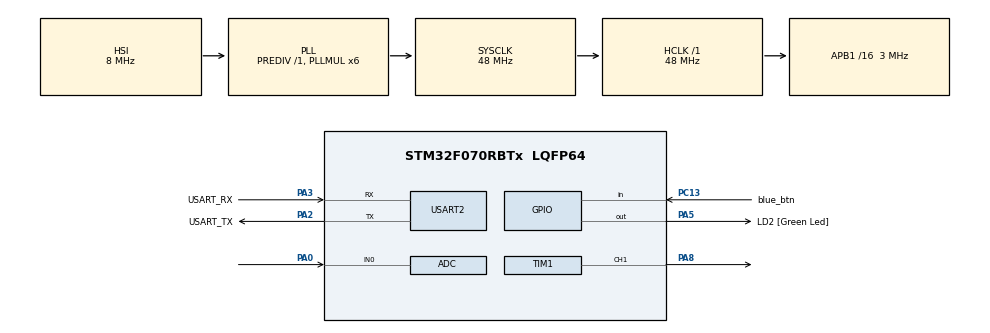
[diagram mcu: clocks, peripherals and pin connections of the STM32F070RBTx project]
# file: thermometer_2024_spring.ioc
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Mcu.Family=STM32F0
Mcu.Name=STM32F070RBTx
Mcu.Package=LQFP64
NVIC.TIM16_IRQn=true\:0\:0\:false\:false\:true\:true\:true\:true
PA0.Mode=IN0
PA0.Signal=ADC_IN0
PA13.GPIO_Label=TMS
PA13.Mode=Serial_Wire
PA13.Signal=SYS_SWDIO
PA14.GPIO_Label=TCK
PA14.Mode=Serial_Wire
PA14.Signal=SYS_SWCLK
PA2.GPIO_Label=USART_TX
PA2.Mode=Asynchronous
PA2.Signal=USART2_TX
PA3.GPIO_Label=USART_RX
PA3.Mode=Asynchronous
PA3.Signal=USART2_RX
PA5.GPIO_Label=LD2 [Green Led]
PA5.Signal=GPIO_Output
PA8.Signal=S_TIM1_CH1
PC13.GPIO_Label=blue_btn
PC13.Signal=GPIO_Input
PC14-OSC32_IN.GPIO_Label=RCC_OSC32_IN
PC14-OSC32_IN.Mode=LSE-External-Oscillator
PC14-OSC32_IN.Signal=RCC_OSC32_IN
PC15-OSC32_OUT.GPIO_Label=RCC_OSC32_OUT
PC15-OSC32_OUT.Mode=LSE-External-Oscillator
PC15-OSC32_OUT.Signal=RCC_OSC32_OUT
PF0-OSC_IN.GPIO_Label=RCC_OSC_IN
PF0-OSC_IN.Mode=HSE-External-Oscillator
PF0-OSC_IN.Signal=RCC_OSC_IN
PF1-OSC_OUT.GPIO_Label=RCC_OSC_OUT
PF1-OSC_OUT.Mode=HSE-External-Oscillator
PF1-OSC_OUT.Signal=RCC_OSC_OUT
ProjectManager.HeapSize=0x200
ProjectManager.StackSize=0x400
ProjectManager.TargetToolchain=STM32CubeIDE
RCC.AHBFreq_Value=48000000
RCC.APB1CLKDivider=RCC_HCLK_DIV16
RCC.APB1Freq_Value=3000000
RCC.APB1TimFreq_Value=6000000
RCC.HCLKFreq_Value=48000000
RCC.PLLMUL=RCC_PLL_MUL6
RCC.SYSCLKFreq_VALUE=48000000
RCC.SYSCLKSource=RCC_SYSCLKSOURCE_PLLCLK
SH.S_TIM1_CH1.0=TIM1_CH1,PWM Generation1 CH1
TIM1.AutoReloadPreload=TIM_AUTORELOAD_PRELOAD_ENABLE
TIM1.Channel-PWM\ Generation1\ CH1=TIM_CHANNEL_1
TIM1.Prescaler=0
TIM16.Period=10000-1
TIM16.Prescaler=51-1
TIM16.RepetitionCounter=0
USART2.VirtualMode-Asynchronous=VM_ASYNC
VP_TIM16_VS_ClockSourceINT.Mode=Enable_Timer
VP_TIM1_VS_ClockSourceINT.Mode=Internal
board=NUCLEO-F070RB

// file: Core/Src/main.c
/* USER CODE BEGIN Header */
/**
 ******************************************************************************
 * @file           : main.c
 * @brief          : Main program body
 ******************************************************************************
 * @attention
 *
 * Copyright (c) 2024 STMicroelectronics.
 * All rights reserved.
 *
 * This software is licensed under terms that can be found in the LICENSE file
 * in the root directory of this software component.
 * If no LICENSE file comes with this software, it is provided AS-IS.
 *
 ******************************************************************************
 */
/* USER CODE END Header */
#include "main.h"

/* USER CODE BEGIN Includes */
#include <string.h>
#include <stdio.h>
#include <math.h>
#include "pid.h"
/* USER CODE END Includes */

/* USER CODE BEGIN PTD */
typedef struct {
  PID_TypeDef TPID;
  double input;
  double output;
  double sp; // set point
} PID_control;
/* USER CODE END PTD */

/* USER CODE BEGIN PD */
// raw temp value (from 0 to 4096) is converted to temperature (Fahrenheit) using the equation:
// Ax + B
// where x is the raw temp value and A and B are constants defined below
#define RAW_TO_TEMP_A 0.175
#define RAW_TO_TEMP_B -22.2

#define SP_HIGH 97.0
#define SP_LOW 93.0
#define SP_INIT 95.0

#define _UART_BUF_SIZE 256
#define HIST_SIZE 4

//#define MANUAL_MODE

// settings for debug graph
#define GRAPH_N_CHARS 64
#define GRAPH_TEMP_MIN 90
#define GRAPH_TEMP_RANGE 10.0
/* USER CODE END PD */

/* USER CODE BEGIN PM */
#define UART_PRINTF(...) \
    do { \
        snprintf(_uart_buf, sizeof(_uart_buf), __VA_ARGS__); \
        HAL_UART_Transmit(&huart2, (uint8_t*)_uart_buf, strnlen((const char*)_uart_buf, sizeof(_uart_buf)), 100); \
    } while (0)

#define UART_PRINT_FLOAT(val) \
  do { \
    if ((val) < 0) { \
      UART_PRINTF("-"); \
      UART_PRINTF("%lu.%02lu", (uint32_t)(-(val)), (uint32_t)(((-(val)) - (uint32_t)(-(val)))*100.0)); \
    } else { \
      UART_PRINTF("%lu.%02lu", (uint32_t)(val), (uint32_t)(((val) - (uint32_t)(val))*100.0)); \
    } \
  } while (0)

/**
 * Convert raw ADC readings to temperature (Fahrenheit)
 */
#define RAW_TO_TEMP(raw) (((RAW_TO_TEMP_A)*(float)(raw) + (RAW_TO_TEMP_B)))
#define TEMP_TO_RAW(temp) ((uint16_t)(((temp) - (RAW_TO_TEMP_B))/(RAW_TO_TEMP_A)))

#define CLAMP(v, min, max) ((v) < (min) ? (min) : (v) > (max) ? (max) : (v))
/* USER CODE END PM */

ADC_HandleTypeDef hadc;

TIM_HandleTypeDef htim1;
TIM_HandleTypeDef htim16;

UART_HandleTypeDef huart2;

/* USER CODE BEGIN PV */
char _uart_buf[_UART_BUF_SIZE];

// value the heater was set to
float heater_set_val;

PID_control pidctl;
int pidctl_en = 0;

// button alternates between heater states (on/off, which SP)
int button_state = 0;

float temp_history[HIST_SIZE];
float output_history[HIST_SIZE];
int current_history = 0;

int button_on = 0;
uint8_t button_debounce = 0;
/* USER CODE END PV */

void SystemClock_Config(void);
static void MX_GPIO_Init(void);
static void MX_USART2_UART_Init(void);
static void MX_ADC_Init(void);
static void MX_TIM1_Init(void);
static void MX_TIM16_Init(void);

/* USER CODE BEGIN 0 */

uint16_t read_temp_raw() {
  HAL_ADC_Start(&hadc);
  HAL_ADC_PollForConversion(&hadc, HAL_MAX_DELAY);
  return HAL_ADC_GetValue(&hadc);
}

/**
 * Set heater with 0.0 being off and 1.0 being on (full)
 */
void set_heater(float value) {
  /*
   * Note:
   * raw value = 0: heater off 0%
   * raw value = 65535 (max): heater on 100%
   *
   * New version of hardware model is active high
   */
  heater_set_val = value;
  TIM1->CCR1 = fabs(value) * 0xffff;
}

/**
 * Sum multiple samples of ADC data spaced evenly by a delay
 */
float read_samples(int size, uint32_t tick_delay) {
  uint32_t total = 0;
  for (int i = 0; i < size; i++) {
    total += read_temp_raw();
    HAL_Delay(tick_delay);
  }
  return total * 1.0 / size;
}

/**
 * For calibrating raw temperature readings to real temperature.
 */
void calibrate_temperature() {
  // disable heater
  set_heater(0);
  UART_PRINTF("%d\n", sizeof(int));

  while (1) {
    float reading = read_samples(256, 10);

    UART_PRINTF("Raw reading averaged over 256 samples every 10 ms: ");
    UART_PRINT_FLOAT(reading);
    UART_PRINTF(", converted temp (F): ");
    UART_PRINT_FLOAT(RAW_TO_TEMP(reading));
    UART_PRINTF("\n\r");

    HAL_Delay(500);
  }
}

/**
 * For calibrating how much the ADC readings are affected by different heater settings.
 *
 * Nice way to analyze these values on command line (for average and stddev):
 * cut -d' ' -f 6,9 | sort | awk -F' ' '{vals[$1]+=$2;vsq[$1]+=($2)^2;c[$1]+=1;} END{for (v in vals) print v, vals[v]/c[v], sqrt((vsq[v]-vals[v]^2/c[v])/c[v]);}'
 */
void calibrate_voltage_drop() {
  float heatval = 0;
  float heater_init = 0.9;

  // disable heater
  set_heater(heater_init);

  while (1) {
    // calculate baseline
    set_heater(heater_init);
    float baseline = read_samples(256, 10);

    // measure spike with heater
    set_heater(heatval);
    float with_heater = read_samples(16, 2);
    set_heater(heater_init);

    UART_PRINTF("baseline: ");
    UART_PRINT_FLOAT(baseline);
    UART_PRINTF(", with heater initially at ");
    UART_PRINT_FLOAT(heater_init);
    UART_PRINTF(" with change to ");
    UART_PRINT_FLOAT(heatval);
    UART_PRINTF(": ");
    UART_PRINT_FLOAT(with_heater);
    UART_PRINTF(", delta: ");
    UART_PRINT_FLOAT(baseline - with_heater);
    UART_PRINTF("\n\r");

    HAL_Delay(500);
  }
}

void PID_init() {
  memset(&pidctl, 0, sizeof(pidctl));
  PID(&pidctl.TPID, &pidctl.input, &pidctl.output, &pidctl.sp, 2.0, 1000.0, 0, _PID_P_ON_M, _PID_CD_DIRECT);
  PID_SetMode(&pidctl.TPID, _PID_MODE_AUTOMATIC);
  PID_SetSampleTime(&pidctl.TPID, 80);
  PID_SetOutputLimits(&pidctl.TPID, 0, 1);
}

void PID_update() {
  pidctl.input = RAW_TO_TEMP(read_temp_raw());
  PID_Compute(&pidctl.TPID);
#ifdef MANUAL_MODE
  set_heater(pidctl.sp < SP_INIT);
#else
  if (!pidctl_en) {
    pidctl.output = 0;
  }
  set_heater(pidctl.output);
#endif

  // update history for debugging
  temp_history[current_history] = pidctl.input;
  output_history[current_history] = pidctl.output;
  current_history = (current_history + 1) % HIST_SIZE;
}

void PID_new_sp(double new_sp) {
  pidctl.sp = new_sp;
}

void button_released() {
  button_state = (button_state + 1) % 4;

  // 0 state: off
  // 1 state: mid sp
  // 2 state: low sp
  // 3 state: high sp

  pidctl_en = button_state != 0;

  if (button_state == 1) {
    PID_new_sp(SP_INIT);
  } else if (button_state == 2) {
    PID_new_sp(SP_LOW);
  } else if (button_state == 3) {
    PID_new_sp(SP_HIGH);
  }
}

/**
 * Creates new row of temperature (and control) graph
 */
void graph_temp() {
  int tick = HAL_GetTick();
  int seconds = tick/1000;
  int ms = tick % 1000;

  float avg_i = 0, avg_o = 0;
  for (int i = 0; i < HIST_SIZE; i++) {
    avg_i += temp_history[i];
    avg_o += output_history[i];
  }
  avg_i /= HIST_SIZE;
  avg_o /= HIST_SIZE;

  int temp_col = (avg_i-GRAPH_TEMP_MIN)/GRAPH_TEMP_RANGE * GRAPH_N_CHARS;
  int sp_col = (pidctl.sp-GRAPH_TEMP_MIN)/GRAPH_TEMP_RANGE * GRAPH_N_CHARS;
  temp_col = CLAMP(temp_col, 0, GRAPH_N_CHARS-1);
  sp_col = CLAMP(sp_col, 0, GRAPH_N_CHARS-1);

  char data[GRAPH_N_CHARS+2];
  memset(data, ' ', sizeof(data));
  data[0] = '|';
  data[GRAPH_N_CHARS-1] = '|';
  data[sp_col] = '.';
  data[temp_col] = '#';
  data[GRAPH_N_CHARS] = 0;
  data[GRAPH_N_CHARS+1] = 0;
  UART_PRINTF(data);

  UART_PRINTF(" temp=");
  UART_PRINT_FLOAT(avg_i);
  UART_PRINTF(" ctl=");
  UART_PRINT_FLOAT(avg_o);
  UART_PRINTF(" sp=");
  UART_PRINT_FLOAT(pidctl.sp);
  UART_PRINTF(" avg_raw=%3d en=%1d time=%2d.%03d\n", TEMP_TO_RAW(avg_i), pidctl_en, seconds, ms);
}

void HAL_TIM_PeriodElapsedCallback(TIM_HandleTypeDef *htim) {
  static int ctr = 0;

  if (htim->Instance == TIM16) {
    PID_update();

    // button debouncing
    int pressed = HAL_GPIO_ReadPin(blue_btn_GPIO_Port, blue_btn_Pin) == GPIO_PIN_RESET;
    button_debounce = (button_debounce << 1) | (pressed & 1);
    if ((button_debounce & 1) == 1) {
      button_on = 1;
    } else if ((button_debounce & 1) == 0) {
      if (button_on) {
        // button release (falling edge)
        button_released();
      }
      button_on = 0;
    }

    ctr++;
    // debug graph
    if (ctr % HIST_SIZE == 0) {
      graph_temp();
    }
  }
}

/* USER CODE END 0 */

int main(void)
{

  /* USER CODE BEGIN 1 */
  set_heater(0);

  /* USER CODE END 1 */

  /* MCU Configuration--------------------------------------------------------*/

  /* Reset of all peripherals, Initializes the Flash interface and the Systick. */
  HAL_Init();

  /* Configure the system clock */
  SystemClock_Config();

  /* Initialize all configured peripherals */
  MX_GPIO_Init();
  MX_USART2_UART_Init();
  MX_ADC_Init();
  MX_TIM1_Init();
  MX_TIM16_Init();
  /* USER CODE BEGIN 2 */

  // start PWM for heater control
  HAL_TIM_PWM_Start(&htim1, TIM_CHANNEL_1);

  // PID control
  PID_init();

  // reset heater again just to be sure
  set_heater(0);

  UART_PRINTF("Boot.\n\r");

  /* USER CODE END 2 */

  /* Infinite loop */
  /* USER CODE BEGIN WHILE */

  /* only run one of the below functions */

//  calibrate_temperature();
//  calibrate_voltage_drop();
  HAL_TIM_Base_Start_IT(&htim16); // start pid timer interrups

  PID_new_sp(SP_INIT);

  while (1) {
    /* USER CODE END WHILE */

  }
}

void SystemClock_Config(void)
{
  RCC_OscInitTypeDef RCC_OscInitStruct = {0};
  RCC_ClkInitTypeDef RCC_ClkInitStruct = {0};

  /** Initializes the RCC Oscillators according to the specified parameters
  * in the RCC_OscInitTypeDef structure.
  */
  RCC_OscInitStruct.OscillatorType = RCC_OSCILLATORTYPE_HSI|RCC_OSCILLATORTYPE_HSI14;
  RCC_OscInitStruct.HSIState = RCC_HSI_ON;
  RCC_OscInitStruct.HSI14State = RCC_HSI14_ON;
  RCC_OscInitStruct.HSICalibrationValue = RCC_HSICALIBRATION_DEFAULT;
  RCC_OscInitStruct.HSI14CalibrationValue = 16;
  RCC_OscInitStruct.PLL.PLLState = RCC_PLL_ON;
  RCC_OscInitStruct.PLL.PLLSource = RCC_PLLSOURCE_HSI;
  RCC_OscInitStruct.PLL.PLLMUL = RCC_PLL_MUL6;
  RCC_OscInitStruct.PLL.PREDIV = RCC_PREDIV_DIV1;
  if (HAL_RCC_OscConfig(&RCC_OscInitStruct) != HAL_OK)
  {
    Error_Handler();
  }

  /** Initializes the CPU, AHB and APB buses clocks
  */
  RCC_ClkInitStruct.ClockType = RCC_CLOCKTYPE_HCLK|RCC_CLOCKTYPE_SYSCLK
                              |RCC_CLOCKTYPE_PCLK1;
  RCC_ClkInitStruct.SYSCLKSource = RCC_SYSCLKSOURCE_PLLCLK;
  RCC_ClkInitStruct.AHBCLKDivider = RCC_SYSCLK_DIV1;
  RCC_ClkInitStruct.APB1CLKDivider = RCC_HCLK_DIV16;

  if (HAL_RCC_ClockConfig(&RCC_ClkInitStruct, FLASH_LATENCY_1) != HAL_OK)
  {
    Error_Handler();
  }
}

static void MX_ADC_Init(void)
{

  ADC_ChannelConfTypeDef sConfig = {0};

  /** Configure the global features of the ADC (Clock, Resolution, Data Alignment and number of conversion)
  */
  hadc.Instance = ADC1;
  hadc.Init.ClockPrescaler = ADC_CLOCK_ASYNC_DIV1;
  hadc.Init.Resolution = ADC_RESOLUTION_12B;
  hadc.Init.DataAlign = ADC_DATAALIGN_RIGHT;
  hadc.Init.ScanConvMode = ADC_SCAN_DIRECTION_FORWARD;
  hadc.Init.EOCSelection = ADC_EOC_SINGLE_CONV;
  hadc.Init.LowPowerAutoWait = DISABLE;
  hadc.Init.LowPowerAutoPowerOff = DISABLE;
  hadc.Init.ContinuousConvMode = DISABLE;
  hadc.Init.DiscontinuousConvMode = DISABLE;
  hadc.Init.ExternalTrigConv = ADC_SOFTWARE_START;
  hadc.Init.ExternalTrigConvEdge = ADC_EXTERNALTRIGCONVEDGE_NONE;
  hadc.Init.DMAContinuousRequests = DISABLE;
  hadc.Init.Overrun = ADC_OVR_DATA_PRESERVED;
  if (HAL_ADC_Init(&hadc) != HAL_OK)
  {
    Error_Handler();
  }

  /** Configure for the selected ADC regular channel to be converted.
  */
  sConfig.Channel = ADC_CHANNEL_0;
  sConfig.Rank = ADC_RANK_CHANNEL_NUMBER;
  sConfig.SamplingTime = ADC_SAMPLETIME_1CYCLE_5;
  if (HAL_ADC_ConfigChannel(&hadc, &sConfig) != HAL_OK)
  {
    Error_Handler();
  }

}

static void MX_TIM1_Init(void)
{

  TIM_ClockConfigTypeDef sClockSourceConfig = {0};
  TIM_MasterConfigTypeDef sMasterConfig = {0};
  TIM_OC_InitTypeDef sConfigOC = {0};
  TIM_BreakDeadTimeConfigTypeDef sBreakDeadTimeConfig = {0};

  htim1.Instance = TIM1;
  htim1.Init.Prescaler = 0;
  htim1.Init.CounterMode = TIM_COUNTERMODE_UP;
  htim1.Init.Period = 65535;
  htim1.Init.ClockDivision = TIM_CLOCKDIVISION_DIV1;
  htim1.Init.RepetitionCounter = 0;
  htim1.Init.AutoReloadPreload = TIM_AUTORELOAD_PRELOAD_ENABLE;
  if (HAL_TIM_Base_Init(&htim1) != HAL_OK)
  {
    Error_Handler();
  }
  sClockSourceConfig.ClockSource = TIM_CLOCKSOURCE_INTERNAL;
  if (HAL_TIM_ConfigClockSource(&htim1, &sClockSourceConfig) != HAL_OK)
  {
    Error_Handler();
  }
  if (HAL_TIM_PWM_Init(&htim1) != HAL_OK)
  {
    Error_Handler();
  }
  sMasterConfig.MasterOutputTrigger = TIM_TRGO_RESET;
  sMasterConfig.MasterSlaveMode = TIM_MASTERSLAVEMODE_DISABLE;
  if (HAL_TIMEx_MasterConfigSynchronization(&htim1, &sMasterConfig) != HAL_OK)
  {
    Error_Handler();
  }
  sConfigOC.OCMode = TIM_OCMODE_PWM1;
  sConfigOC.Pulse = 0;
  sConfigOC.OCPolarity = TIM_OCPOLARITY_HIGH;
  sConfigOC.OCNPolarity = TIM_OCNPOLARITY_HIGH;
  sConfigOC.OCFastMode = TIM_OCFAST_DISABLE;
  sConfigOC.OCIdleState = TIM_OCIDLESTATE_RESET;
  sConfigOC.OCNIdleState = TIM_OCNIDLESTATE_RESET;
  if (HAL_TIM_PWM_ConfigChannel(&htim1, &sConfigOC, TIM_CHANNEL_1) != HAL_OK)
  {
    Error_Handler();
  }
  sBreakDeadTimeConfig.OffStateRunMode = TIM_OSSR_DISABLE;
  sBreakDeadTimeConfig.OffStateIDLEMode = TIM_OSSI_DISABLE;
  sBreakDeadTimeConfig.LockLevel = TIM_LOCKLEVEL_OFF;
  sBreakDeadTimeConfig.DeadTime = 0;
  sBreakDeadTimeConfig.BreakState = TIM_BREAK_DISABLE;
  sBreakDeadTimeConfig.BreakPolarity = TIM_BREAKPOLARITY_HIGH;
  sBreakDeadTimeConfig.AutomaticOutput = TIM_AUTOMATICOUTPUT_DISABLE;
  if (HAL_TIMEx_ConfigBreakDeadTime(&htim1, &sBreakDeadTimeConfig) != HAL_OK)
  {
    Error_Handler();
  }
  HAL_TIM_MspPostInit(&htim1);

}

static void MX_TIM16_Init(void)
{

  htim16.Instance = TIM16;
  htim16.Init.Prescaler = 51-1;
  htim16.Init.CounterMode = TIM_COUNTERMODE_UP;
  htim16.Init.Period = 10000-1;
  htim16.Init.ClockDivision = TIM_CLOCKDIVISION_DIV1;
  htim16.Init.RepetitionCounter = 0;
  htim16.Init.AutoReloadPreload = TIM_AUTORELOAD_PRELOAD_DISABLE;
  if (HAL_TIM_Base_Init(&htim16) != HAL_OK)
  {
    Error_Handler();
  }

}

static void MX_USART2_UART_Init(void)
{

  huart2.Instance = USART2;
  huart2.Init.BaudRate = 38400;
  huart2.Init.WordLength = UART_WORDLENGTH_8B;
  huart2.Init.StopBits = UART_STOPBITS_1;
  huart2.Init.Parity = UART_PARITY_NONE;
  huart2.Init.Mode = UART_MODE_TX_RX;
  huart2.Init.HwFlowCtl = UART_HWCONTROL_NONE;
  huart2.Init.OverSampling = UART_OVERSAMPLING_16;
  huart2.Init.OneBitSampling = UART_ONE_BIT_SAMPLE_DISABLE;
  huart2.AdvancedInit.AdvFeatureInit = UART_ADVFEATURE_NO_INIT;
  if (HAL_UART_Init(&huart2) != HAL_OK)
  {
    Error_Handler();
  }

}

static void MX_GPIO_Init(void)
{
  GPIO_InitTypeDef GPIO_InitStruct = {0};

  /* GPIO Ports Clock Enable */
  __HAL_RCC_GPIOC_CLK_ENABLE();
  __HAL_RCC_GPIOF_CLK_ENABLE();
  __HAL_RCC_GPIOA_CLK_ENABLE();

  /*Configure GPIO pin Output Level */
  HAL_GPIO_WritePin(LD2_GPIO_Port, LD2_Pin, GPIO_PIN_RESET);

  /*Configure GPIO pin : blue_btn_Pin */
  GPIO_InitStruct.Pin = blue_btn_Pin;
  GPIO_InitStruct.Mode = GPIO_MODE_INPUT;
  GPIO_InitStruct.Pull = GPIO_NOPULL;
  HAL_GPIO_Init(blue_btn_GPIO_Port, &GPIO_InitStruct);

  /*Configure GPIO pin : LD2_Pin */
  GPIO_InitStruct.Pin = LD2_Pin;
  GPIO_InitStruct.Mode = GPIO_MODE_OUTPUT_PP;
  GPIO_InitStruct.Pull = GPIO_NOPULL;
  GPIO_InitStruct.Speed = GPIO_SPEED_FREQ_LOW;
  HAL_GPIO_Init(LD2_GPIO_Port, &GPIO_InitStruct);

}

void Error_Handler(void)
{
  __disable_irq();
  while (1) {
  }
}
